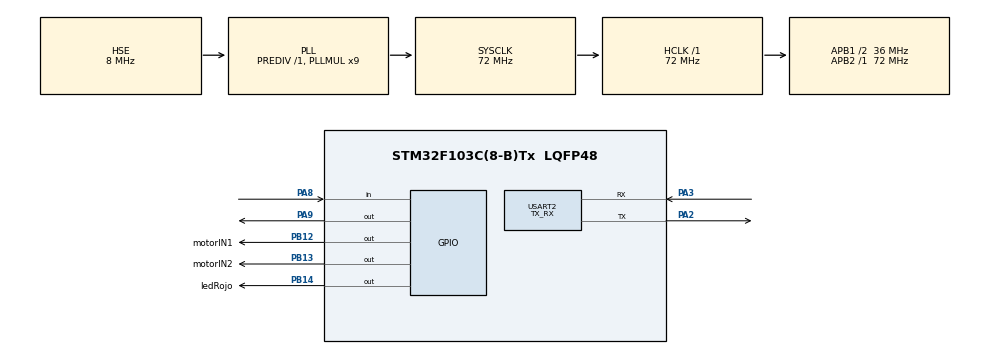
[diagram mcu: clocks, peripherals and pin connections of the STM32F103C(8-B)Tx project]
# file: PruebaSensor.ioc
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Mcu.Family=STM32F1
Mcu.Name=STM32F103C(8-B)Tx
Mcu.Package=LQFP48
NVIC.PriorityGroup=NVIC_PRIORITYGROUP_4
PA13.Mode=Serial_Wire
PA13.Signal=SYS_JTMS-SWDIO
PA14.Mode=Serial_Wire
PA14.Signal=SYS_JTCK-SWCLK
PA2.Mode=Asynchronous
PA2.Signal=USART2_TX
PA3.Mode=Asynchronous
PA3.Signal=USART2_RX
PA8.Signal=GPIO_Input
PA9.Signal=GPIO_Output
PB12.GPIO_Label=motorIN1
PB12.GPIO_ModeDefaultOutputPP=GPIO_MODE_OUTPUT_PP
PB12.GPIO_PuPd=GPIO_NOPULL
PB12.PinState=GPIO_PIN_RESET
PB12.Signal=GPIO_Output
PB13.GPIO_Label=motorIN2
PB13.GPIO_ModeDefaultOutputPP=GPIO_MODE_OUTPUT_PP
PB13.GPIO_PuPd=GPIO_NOPULL
PB13.PinState=GPIO_PIN_RESET
PB13.Signal=GPIO_Output
PB14.GPIO_Label=ledRojo
PB14.Signal=GPIO_Output
PD0-OSC_IN.Mode=HSE-External-Oscillator
PD0-OSC_IN.Signal=RCC_OSC_IN
PD1-OSC_OUT.Mode=HSE-External-Oscillator
PD1-OSC_OUT.Signal=RCC_OSC_OUT
ProjectManager.HeapSize=0x200
ProjectManager.StackSize=0x400
ProjectManager.TargetToolchain=STM32CubeIDE
RCC.AHBFreq_Value=72000000
RCC.APB1CLKDivider=RCC_HCLK_DIV2
RCC.APB1Freq_Value=36000000
RCC.APB1TimFreq_Value=72000000
RCC.APB2Freq_Value=72000000
RCC.APB2TimFreq_Value=72000000
RCC.HCLKFreq_Value=72000000
RCC.PLLMUL=RCC_PLL_MUL9
RCC.PLLSourceVirtual=RCC_PLLSOURCE_HSE
RCC.SYSCLKFreq_VALUE=72000000
RCC.SYSCLKSource=RCC_SYSCLKSOURCE_PLLCLK
RCC.USBFreq_Value=72000000
TIM1.Prescaler=71
USART2.Mode=MODE_TX_RX
USART2.VirtualMode=VM_ASYNC
VP_TIM1_VS_ClockSourceINT.Mode=Internal
board=custom

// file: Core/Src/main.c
/* USER CODE BEGIN Header */
/**
 ******************************************************************************
 * @file           : main.c
 * @brief          : Main program body
 ******************************************************************************
 * @attention
 *
 * Copyright (c) 2024 STMicroelectronics.
 * All rights reserved.
 *
 * This software is licensed under terms that can be found in the LICENSE file
 * in the root directory of this software component.
 * If no LICENSE file comes with this software, it is provided AS-IS.
 *
 ******************************************************************************
 */
/* USER CODE END Header */
#include "main.h"
#include "tim.h"
#include "usart.h"
#include "gpio.h"

/* USER CODE BEGIN Includes */
#include "stdio.h"
/* USER CODE END Includes */

/* USER CODE BEGIN PV */

#define TRIG_PIN GPIO_PIN_9
#define TRIG_PORT GPIOA
#define ECHO_PIN GPIO_PIN_8
#define ECHO_PORT GPIOA
uint32_t pMillis;
uint32_t Value1 = 0;
uint32_t Value2 = 0;
uint16_t Distance  = 0;  // cm

void Motor_Control(uint16_t);

/* USER CODE END PV */

void SystemClock_Config(void);
/* USER CODE BEGIN PFP */
// void Led_Control(uint16_t dist);
/* USER CODE END PFP */

int main(void)
{

  /* MCU Configuration--------------------------------------------------------*/

  /* Reset of all peripherals, Initializes the Flash interface and the Systick. */
  HAL_Init();

  /* Configure the system clock */
  SystemClock_Config();

  /* Initialize all configured peripherals */
  MX_GPIO_Init();
  MX_TIM1_Init();
  MX_USART2_UART_Init();
  /* USER CODE BEGIN 2 */

	HAL_TIM_Base_Start(&htim1);
	HAL_GPIO_WritePin(TRIG_PORT, TRIG_PIN, GPIO_PIN_RESET);  // pull the TRIG pin low
	char str[50] = {0};

  /* USER CODE END 2 */

  /* Infinite loop */
	while (1)
	{

    /* USER CODE BEGIN 3 */
		HAL_GPIO_WritePin(TRIG_PORT, TRIG_PIN, GPIO_PIN_SET);  // pull the TRIG pin HIGH
		__HAL_TIM_SET_COUNTER(&htim1, 0);
		while (__HAL_TIM_GET_COUNTER (&htim1) < 10);  // wait for 10 us
		HAL_GPIO_WritePin(TRIG_PORT, TRIG_PIN, GPIO_PIN_RESET);  // pull the TRIG pin low

		pMillis = HAL_GetTick(); // used this to avoid infinite while loop  (for timeout)
		// wait for the echo pin to go high
		while (!(HAL_GPIO_ReadPin (ECHO_PORT, ECHO_PIN)) && pMillis + 10 >  HAL_GetTick());
		Value1 = __HAL_TIM_GET_COUNTER (&htim1);

		pMillis = HAL_GetTick(); // used this to avoid infinite while loop (for timeout)
		// wait for the echo pin to go low
		while ((HAL_GPIO_ReadPin (ECHO_PORT, ECHO_PIN)) && pMillis + 50 > HAL_GetTick());
		Value2 = __HAL_TIM_GET_COUNTER (&htim1);

		Distance = (Value2-Value1)* 0.034/2;
		sprintf(str, "distancia: %d \n", Distance);
		// HAL_UART_Transmit(&huart2, str, 50, 255);
		Motor_Control(Distance);
		// Led_Control(Distance);
		HAL_Delay(250);

	}
  /* USER CODE END 3 */
}

void SystemClock_Config(void)
{
  RCC_OscInitTypeDef RCC_OscInitStruct = {0};
  RCC_ClkInitTypeDef RCC_ClkInitStruct = {0};

  /** Initializes the RCC Oscillators according to the specified parameters
  * in the RCC_OscInitTypeDef structure.
  */
  RCC_OscInitStruct.OscillatorType = RCC_OSCILLATORTYPE_HSE;
  RCC_OscInitStruct.HSEState = RCC_HSE_ON;
  RCC_OscInitStruct.HSEPredivValue = RCC_HSE_PREDIV_DIV1;
  RCC_OscInitStruct.HSIState = RCC_HSI_ON;
  RCC_OscInitStruct.PLL.PLLState = RCC_PLL_ON;
  RCC_OscInitStruct.PLL.PLLSource = RCC_PLLSOURCE_HSE;
  RCC_OscInitStruct.PLL.PLLMUL = RCC_PLL_MUL9;
  if (HAL_RCC_OscConfig(&RCC_OscInitStruct) != HAL_OK)
  {
    Error_Handler();
  }

  /** Initializes the CPU, AHB and APB buses clocks
  */
  RCC_ClkInitStruct.ClockType = RCC_CLOCKTYPE_HCLK|RCC_CLOCKTYPE_SYSCLK
                              |RCC_CLOCKTYPE_PCLK1|RCC_CLOCKTYPE_PCLK2;
  RCC_ClkInitStruct.SYSCLKSource = RCC_SYSCLKSOURCE_PLLCLK;
  RCC_ClkInitStruct.AHBCLKDivider = RCC_SYSCLK_DIV1;
  RCC_ClkInitStruct.APB1CLKDivider = RCC_HCLK_DIV2;
  RCC_ClkInitStruct.APB2CLKDivider = RCC_HCLK_DIV1;

  if (HAL_RCC_ClockConfig(&RCC_ClkInitStruct, FLASH_LATENCY_2) != HAL_OK)
  {
    Error_Handler();
  }
}

/* USER CODE BEGIN 4 */

void Motor_Control(uint16_t dist)
{
	if(dist < 4)
	{
		HAL_GPIO_WritePin(motorIN1_GPIO_Port, motorIN1_Pin, RESET);
		HAL_GPIO_WritePin(motorIN2_GPIO_Port, motorIN2_Pin, SET);
	}

	//		else if(dist < 8 && dist >= 4)
	//		{
	//			HAL_GPIO_WritePin(motorIN1_GPIO_Port, motorIN1_Pin, SET);
	//			HAL_GPIO_WritePin(motorIN2_GPIO_Port, motorIN2_Pin, SET);
	//		}
	else if(dist <= 12 && dist >= 8)
	{
		HAL_GPIO_WritePin(motorIN1_GPIO_Port, motorIN1_Pin, SET);
		HAL_GPIO_WritePin(motorIN2_GPIO_Port, motorIN2_Pin, RESET);

	}
	else
	{
		HAL_GPIO_WritePin(motorIN1_GPIO_Port, motorIN1_Pin, SET);
		HAL_GPIO_WritePin(motorIN2_GPIO_Port, motorIN2_Pin, SET);
	}
}

/*void Led_Control(uint16_t dist)
{
	if(dist <= 12 && dist >= 8)
	{
		HAL_GPIO_WritePin(ledVerde_GPIO_Port, ledVerde_Pin, SET);
		HAL_GPIO_WritePin(ledAmarillo_GPIO_Port, ledAmarillo_Pin, RESET);
		HAL_GPIO_WritePin(ledRojo_GPIO_Port, ledRojo_Pin, RESET);
	}
	else if(dist < 8 && dist >= 4)
	{
		HAL_GPIO_WritePin(ledVerde_GPIO_Port, ledVerde_Pin, RESET);
		HAL_GPIO_WritePin(ledAmarillo_GPIO_Port, ledAmarillo_Pin, SET);
		HAL_GPIO_WritePin(ledRojo_GPIO_Port, ledRojo_Pin, RESET);
	}
	else if(dist < 4)
	{
		HAL_GPIO_WritePin(ledVerde_GPIO_Port, ledVerde_Pin, RESET);
		HAL_GPIO_WritePin(ledAmarillo_GPIO_Port, ledAmarillo_Pin, RESET);
		HAL_GPIO_WritePin(ledRojo_GPIO_Port, ledRojo_Pin, SET);
	}
	else
	{
		HAL_GPIO_WritePin(ledVerde_GPIO_Port, ledVerde_Pin, RESET);
		HAL_GPIO_WritePin(ledAmarillo_GPIO_Port, ledAmarillo_Pin, RESET);
		HAL_GPIO_WritePin(ledRojo_GPIO_Port, ledRojo_Pin, RESET);
	}
}*/

/* USER CODE END 4 */

void Error_Handler(void)
{
	__disable_irq();
	while (1)
	{
	}
}
